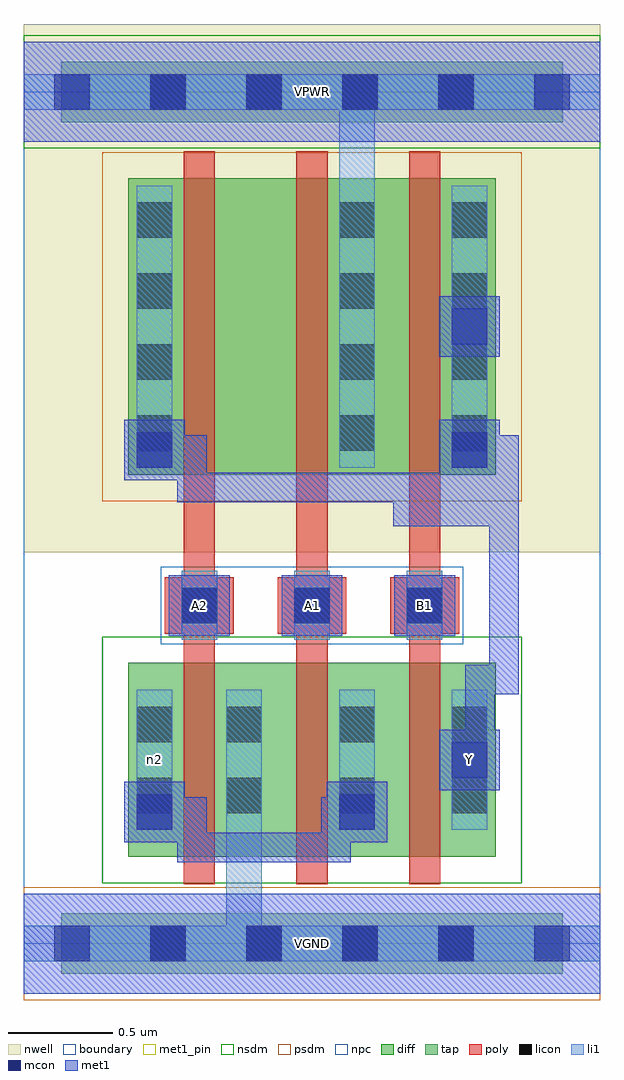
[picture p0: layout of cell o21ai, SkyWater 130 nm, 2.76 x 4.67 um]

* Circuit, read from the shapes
.subckt o21ai A1 A2 B1 VGND VPWR Y n2
XM1 VGND A2 n2 VGND sky130_fd_pr__nfet_01v8 w=0.93 l=0.15
XM2 n2 A1 VGND VGND sky130_fd_pr__nfet_01v8 w=0.93 l=0.15
XM3 Y B1 n2 VGND sky130_fd_pr__nfet_01v8 w=0.93 l=0.15
XM4 n1 A2 Y VPWR sky130_fd_pr__pfet_01v8 w=1.42 l=0.15
XM5 VPWR A1 n1 VPWR sky130_fd_pr__pfet_01v8 w=1.42 l=0.15
XM6 Y B1 VPWR VPWR sky130_fd_pr__pfet_01v8 w=1.42 l=0.15
.ends

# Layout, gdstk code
import gdstk
lib = gdstk.Library(unit=1e-6, precision=1e-09)
def R(c, l, rs):  # rectangles x0, y0, x1, y1
    for r in rs: c.add(gdstk.rectangle(r[:2], r[2:], *l))
def A(c, l, x, y, w, h, nx, ny, dx, dy):  # array of equal rectangles
    R(c, l, [(x+i*dx, y+j*dy, x+i*dx+w, y+j*dy+h) for i in range(nx) for j in range(ny)])
nwell = (64, 20)
diff = (65, 20)
tap = (65, 44)
poly = (66, 20)
licon = (66, 44)
li1 = (67, 20)
mcon = (67, 44)
met1_pin = (68, 16)
met1 = (68, 20)
nsdm = (93, 44)
psdm = (94, 20)
npc = (95, 20)
boundary = (235, 4)

o21ai = lib.new_cell('o21ai')
R(o21ai, nwell, [(0,1.875,2.76,4.405)])
R(o21ai, diff, [(0.5,0.415,2.26,1.345), (0.5,2.245,2.26,3.665)])
R(o21ai, tap, [(0.18,-0.145,2.58,0.145), (0.18,3.935,2.58,4.225)])
A(o21ai, poly, 0.765, 0.285, 0.15, 3.51, 3, 1, 0.54, 0)
A(o21ai, poly, 0.675, 1.485, 0.33, 0.27, 3, 1, 0.54, 0)
A(o21ai, licon, 0.605, -0.085, 0.17, 0.17, 4, 2, 0.46, 4.08)
A(o21ai, licon, 0.97, 0.625, 0.17, 0.17, 3, 2, 0.54, 0.34)
A(o21ai, licon, 0.755, 1.535, 0.17, 0.17, 3, 1, 0.54, 0)
A(o21ai, licon, 0.54, 2.36, 0.17, 0.17, 1, 4, 0, 0.34)
A(o21ai, licon, 1.51, 2.36, 0.17, 0.17, 1, 4, 0, 0.34)
A(o21ai, licon, 2.05, 2.36, 0.17, 0.17, 1, 4, 0, 0.34)
R(o21ai, licon, [(0.54,0.625,0.71,0.795), (0.54,0.965,0.71,1.135)])
A(o21ai, li1, 0.97, 0.545, 0.17, 0.67, 3, 1, 0.54, 0)
A(o21ai, li1, 0.755, 1.455, 0.17, 0.33, 3, 1, 0.54, 0)
R(o21ai, li1, [(0,-0.085,2.76,0.085), (0.97,-0.085,1.14,1.215), (0.54,0.545,0.71,1.215), (0.54,2.28,0.71,3.63), (1.51,2.28,1.68,3.63), (1.51,2.28,1.68,4.165), (2.05,2.28,2.22,3.63), (0,3.995,2.76,4.165)])
A(o21ai, mcon, 0.145, -0.085, 0.17, 0.17, 6, 2, 0.46, 4.08)
A(o21ai, mcon, 0.755, 1.535, 0.17, 0.17, 3, 1, 0.54, 0)
R(o21ai, mcon, [(0.54,0.545,0.71,0.715), (1.51,0.545,1.68,0.715), (2.05,0.795,2.22,0.965), (0.54,2.28,0.71,2.45), (2.05,2.28,2.22,2.45), (2.05,2.87,2.22,3.04)])
A(o21ai, met1_pin, 0.695, 1.475, 0.29, 0.29, 3, 1, 0.54, 0)
R(o21ai, met1_pin, [(0,-0.24,2.76,0.24), (1.99,0.735,2.28,1.025), (0,3.84,2.76,4.32)])
A(o21ai, met1, 0.695, 1.475, 0.29, 0.29, 3, 1, 0.54, 0)
R(o21ai, met1, [(0,-0.24,2.76,0.24), (0.735,0.39,0.875,0.7), (0.735,0.39,1.565,0.53), (1.425,0.39,1.565,0.7), (0.48,0.485,0.77,0.775), (1.45,0.485,1.74,0.775), (0.555,0.56,0.875,0.7), (1.425,0.56,1.665,0.7), (1.99,0.735,2.28,1.025), (2.115,0.85,2.255,0.99), (2.115,0.85,2.255,1.335), (2.115,1.195,2.37,1.335), (2.23,1.195,2.37,2.255), (1.77,2,2.37,2.14), (1.77,2,1.91,2.255), (0.735,2.115,0.875,2.435), (0.735,2.115,1.91,2.255), (2.23,2.115,2.37,2.435), (1.91,2.14,1.99,2.22), (1.99,2.14,2.28,2.22), (0.48,2.22,0.77,2.51), (1.91,2.22,1.99,2.255), (1.99,2.22,2.28,2.51), (0.555,2.295,0.875,2.435), (2.065,2.295,2.37,2.435), (1.99,2.81,2.28,3.1), (0,3.84,2.76,4.32)])
R(o21ai, nsdm, [(0.375,0.29,2.385,1.47), (0,3.81,2.76,4.35)])
R(o21ai, psdm, [(0,-0.27,2.76,0.27), (0.375,2.12,2.385,3.79)])
R(o21ai, npc, [(0.655,1.435,2.105,1.805)])
R(o21ai, boundary, [(0,0,2.76,4.08)])
o21ai.add(gdstk.Label('n2', (0.625,0.88), layer=67, texttype=5))
o21ai.add(gdstk.Label('A1', (1.38,1.62), layer=68, texttype=5))
o21ai.add(gdstk.Label('A2', (0.84,1.62), layer=68, texttype=5))
o21ai.add(gdstk.Label('B1', (1.92,1.62), layer=68, texttype=5))
o21ai.add(gdstk.Label('Y', (2.135,0.88), layer=68, texttype=5))
o21ai.add(gdstk.Label('VPWR', (1.38,4.08), layer=68, texttype=5))
o21ai.add(gdstk.Label('VGND', (1.38,0), layer=68, texttype=5))
o21ai.add(gdstk.Label('A1', (1.38,1.62), layer=68, texttype=16))
o21ai.add(gdstk.Label('A2', (0.84,1.62), layer=68, texttype=16))
o21ai.add(gdstk.Label('B1', (1.92,1.62), layer=68, texttype=16))
o21ai.add(gdstk.Label('Y', (2.135,0.88), layer=68, texttype=16))
o21ai.add(gdstk.Label('VPWR', (1.38,4.08), layer=68, texttype=16))
o21ai.add(gdstk.Label('VGND', (1.38,0), layer=68, texttype=16))

lib.write_gds('o21ai.gds')
